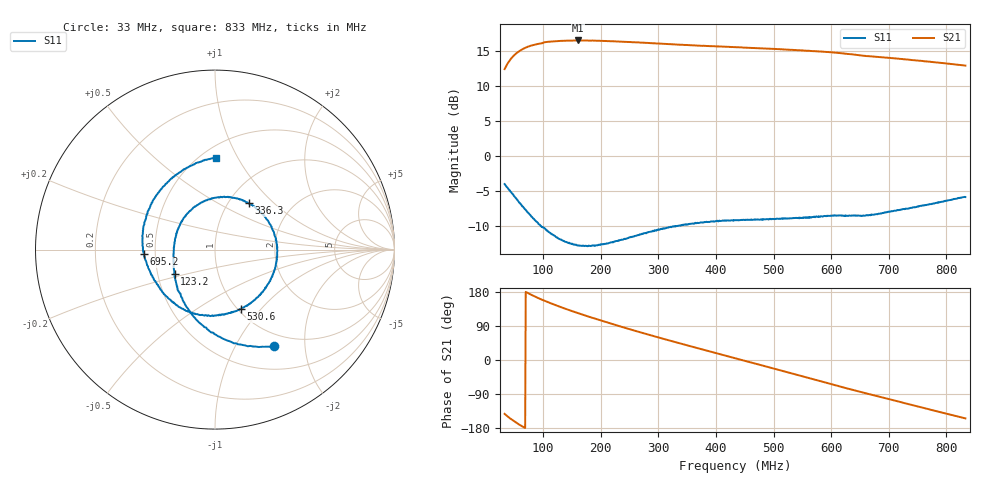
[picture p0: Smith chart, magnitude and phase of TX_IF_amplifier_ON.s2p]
# HZ S RI R 50
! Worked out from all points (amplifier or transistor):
!   808 points, 33 MHz to 833 MHz, reference 50 ohm
!   highest |S21| = 16.5 dB at 159.9 MHz (marker M1)
!   |S21| within 3 dB of that: 40.52 MHz to 766.9 MHz (726.4 MHz wide, 180 % of centre)
!   S11 on the Smith chart (normalised r, x): 33 MHz: 0.81, -1.45; 123.2 MHz: 0.61, -0.18; 336.3 MHz: 1.23, +0.71; 530.6 MHz: 1.03, -0.78; 695.2 MHz: 0.43, -0.03; 833 MHz: 0.59, +0.82
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3.3e7  0.3268 -0.5398  -3.284 -2.557  0 0  0 0
5.183519e7  0.0567 -0.5017  -5.126 -1.459  0 0  0 0
7.067039e7  -0.0979 -0.3963  -5.942 0.1193  0 0  0 0
1.004102e8  -0.2031 -0.2327  -5.956 2.45  0 0  0 0
1.232107e8  -0.2252 -0.1361  -5.307 3.898  0 0  0 0
1.598897e8  -0.23 -0.0179  -3.719 5.525  0 0  0 0
1.66829e8  -0.2285 0.00372  -3.369 5.736  0 0  0 0
1.995428e8  -0.2104 0.0995  -1.655 6.408  0 0  0 0
2.302739e8  -0.1673 0.1857  -0.0227 6.546  0 0  0 0
2.619963e8  -0.0831 0.258  1.564 6.265  0 0  0 0
2.996667e8  0.0524 0.2951  3.199 5.47  0 0  0 0
3.363458e8  0.1869 0.2586  4.447 4.342  0 0  0 0
3.859121e8  0.3167 0.1191  5.553 2.484  0 0  0 0
4.334957e8  0.3455 -0.0545  5.948 0.4842  0 0  0 0
4.820707e8  0.2785 -0.2152  5.631 -1.533  0 0  0 0
5.306457e8  0.1432 -0.3298  4.683 -3.28  0 0  0 0
5.663334e8  0.00787 -0.3661  3.628 -4.268  0 0  0 0
6.238303e8  -0.2305 -0.2936  1.532 -5.144  0 0  0 0
6.952058e8  -0.3971 -0.0262  -0.9689 -4.936  0 0  0 0
7.001624e8  -0.402 -0.00132  -1.138 -4.873  0 0  0 0
7.725292e8  -0.2857 0.3533  -3.094 -3.529  0 0  0 0
8.330001e8  0.00663 0.51  -3.968 -1.926  0 0  0 0
